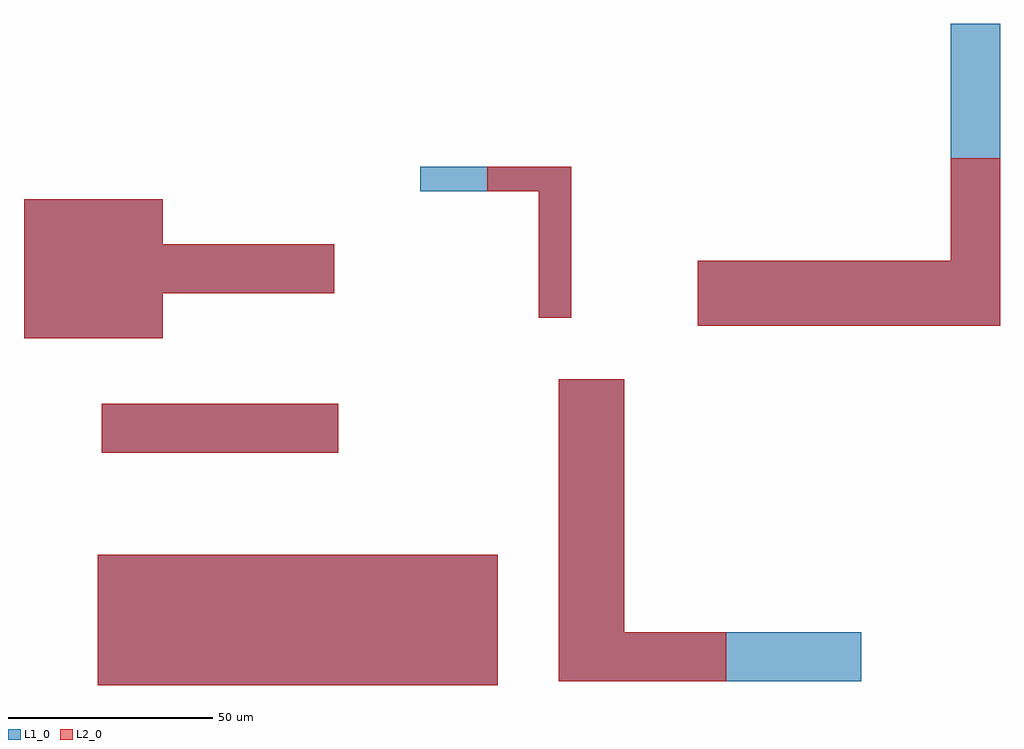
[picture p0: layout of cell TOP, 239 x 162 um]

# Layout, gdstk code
from math import pi, radians
import gdstk
lib = gdstk.Library(unit=1e-6, precision=1e-09)
def R(c, l, rs):  # rectangles x0, y0, x1, y1
    for r in rs: c.add(gdstk.rectangle(r[:2], r[2:], *l))
L1_0 = (1, 0)
L2_0 = (2, 0)

c_a = lib.new_cell('A')
R(c_a, L1_0, [(0,-12,58,0)])
R(c_a, L2_0, [(0,-12,58,0)])

c_b = lib.new_cell('B')
R(c_b, L1_0, [(12,-17,20,20), (-17,14,20,20)])
R(c_b, L2_0, [(12,-17,20,20), (-0.5,14,20,20)])

c_c = lib.new_cell('C')
c_c.add(gdstk.Reference(c_b, (14,28), rotation=pi))

top = lib.new_cell('TOP')
R(top, L1_0, [(-11,-15,23,19)])
R(top, L2_0, [(-11,-15,23,19)])
top.add(gdstk.Reference(c_a, (7,8)))
top.add(gdstk.Reference(c_a, (8,-31)))
r = gdstk.Reference(c_a, (7,-88)); r.repetition = gdstk.Repetition(2, 5, v1=(40,0), v2=(0,5)); top.add(r)
top.add(gdstk.Reference(c_b, (103,7)))
top.add(gdstk.Reference(c_b, (160,-59), rotation=pi, magnification=2))
top.add(gdstk.Reference(c_c, (244,0), rotation=pi/2, magnification=2))

lib.write_gds('TOP.gds')
